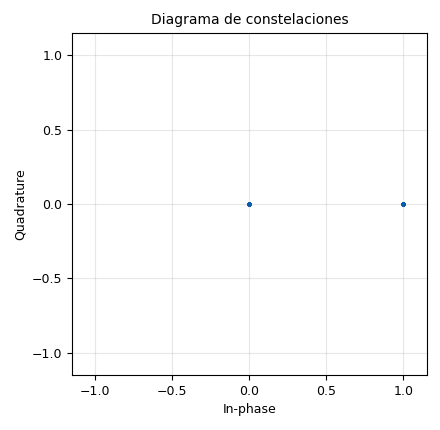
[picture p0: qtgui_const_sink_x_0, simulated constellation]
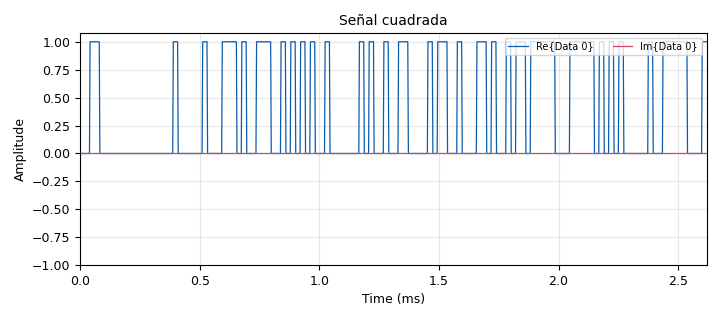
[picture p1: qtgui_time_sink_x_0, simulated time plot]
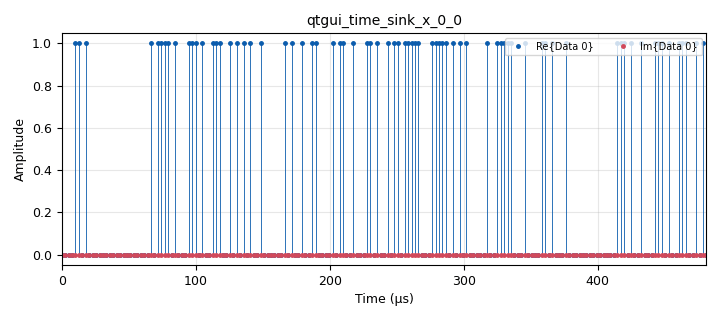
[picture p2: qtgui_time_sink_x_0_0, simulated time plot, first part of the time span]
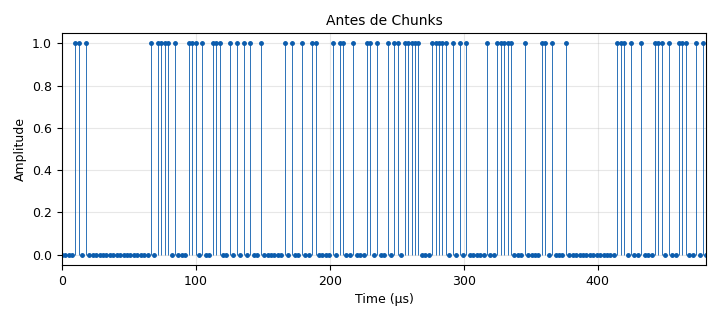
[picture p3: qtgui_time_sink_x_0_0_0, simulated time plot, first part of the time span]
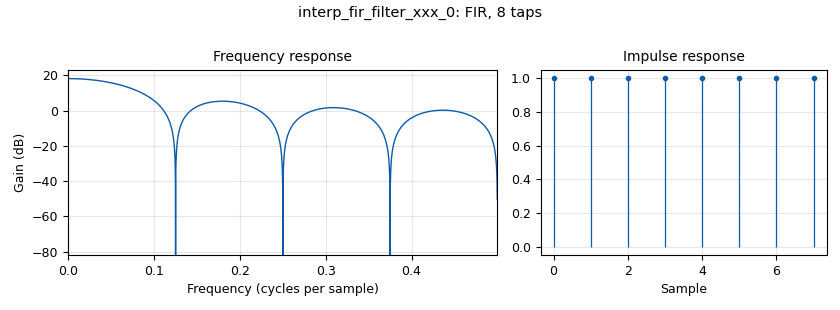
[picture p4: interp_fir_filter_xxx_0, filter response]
options:
  parameters:
    generate_options: qt_gui
    id: fus_USRP_4_with_Pkt_7_base
    output_language: python
    title: fus_USRP_4_with_Pkt_7_base
  states: {}

blocks:
- name: M
  id: variable
  parameters:
    value: len(module)
  states: {}
- name: Rb
  id: variable
  parameters:
    value: Rs*bps
  states: {}
- name: Rs
  id: variable
  parameters:
    value: '48828.125'
  states: {}
- name: Sps
  id: variable
  parameters:
    value: '8'
  states: {}
- name: Sps_0
  id: variable
  parameters:
    value: int(Sps/2)
  states: {}
- name: TrueBoardConstellation
  id: variable
  parameters:
    value: (0.77+0.77j,-0.77+0.77j,-0.77-0.77j,0.77-0.77j)
  states: {}
- name: bps
  id: variable
  parameters:
    value: int(math.log(M,2))
  states: {}
- name: constellation_2
  id: variable
  parameters:
    value: (0,1)
  states: {}
- name: h
  id: variable
  parameters:
    value: '[1]*Sps'
  states: {}
- name: hdr_format
  id: variable
  parameters:
    comment: header_format_crc
    value: digital.header_format_crc(len_key, num_key)
  states: {}
- name: len_key
  id: variable
  parameters:
    value: '"packet_len"'
  states: {}
- name: module
  id: variable_qtgui_chooser
  parameters:
    gui_hint: 0,7,1,1
    label: modulación
    label0: TrueBoardConstellation
    label1: constellation_2
    num_opts: '2'
    option0: TrueBoardConstellation
    option1: constellation_2
    options: '[TrueBoardConstellation, constellation_2]'
    type: raw
    value: constellation_2
  states: {}
- name: num_key
  id: variable
  parameters:
    value: '"packet_num"'
  states: {}
- name: samp_rate
  id: variable
  parameters:
    value: Rs*Sps
  states: {}
- name: samp_rate_2
  id: variable
  parameters:
    value: samp_rate*16
  states: {}
- name: Widget
  id: qtgui_tab_widget
  parameters:
    gui_hint: 0,0,1,7
    label0: Señal binaria
    label1: Señal cuadrada
    label2: Diagrama de constelaciones
    label3: Antes de Chunks
    num_tabs: '4'
  states: {}
- name: blocks_complex_to_interleaved_char_0
  id: blocks_complex_to_interleaved_char
  parameters:
    scale_factor: '1.0'
    vector_output: 'False'
  states: {state: disabled}
- name: blocks_file_sink_1
  id: blocks_file_sink
  parameters:
    file: G:\My Drive\ProgrammingProject\MaquinaNativa1\encrypted_data_rr.bin
    type: byte
  states: {state: disabled}
- name: blocks_keep_one_in_n_0
  id: blocks_keep_one_in_n
  parameters:
    n: '8'
    type: complex
  states: {state: disabled}
- name: blocks_message_debug_0
  id: blocks_message_debug
  parameters: {}
  states: {}
- name: blocks_message_strobe_0
  id: blocks_message_strobe
  parameters:
    msg: pmt.cons(pmt.PMT_NIL,pmt.init_u8vector(9,(71,78,85,32,82,97,100,105,111)))
    period: '2000'
  states: {}
- name: blocks_pack_k_bits_bb_0
  id: blocks_pack_k_bits_bb
  parameters:
    k: '8'
  states: {state: disabled}
- name: blocks_pack_k_bits_bb_0_0
  id: blocks_pack_k_bits_bb
  parameters:
    k: '8'
  states: {state: disabled}
- name: blocks_packed_to_unpacked_xx_0
  id: blocks_packed_to_unpacked_xx
  parameters:
    bits_per_chunk: bps
    endianness: gr.GR_MSB_FIRST
    type: byte
  states: {state: disabled}
- name: blocks_pdu_to_tagged_stream_0
  id: blocks_pdu_to_tagged_stream
  parameters:
    tag: packet_len
    type: byte
  states: {}
- name: blocks_pdu_to_tagged_stream_1
  id: blocks_pdu_to_tagged_stream
  parameters:
    tag: packet_len
    type: byte
  states: {}
- name: blocks_repack_bits_bb_1_0
  id: blocks_repack_bits_bb
  parameters:
    endianness: gr.GR_MSB_FIRST
    k: '8'
    l: '1'
    len_tag_key: '"packet_len"'
  states: {}
- name: blocks_tagged_stream_mux_0
  id: blocks_tagged_stream_mux
  parameters:
    lengthtagname: packet_len
    ninputs: '2'
    type: byte
  states: {}
- name: blocks_throttle_0
  id: blocks_throttle
  parameters:
    samples_per_second: samp_rate
    type: byte
  states: {}
- name: blocks_uchar_to_float_0
  id: blocks_uchar_to_float
  parameters: {}
  states: {}
- name: blocks_unpack_k_bits_bb_0
  id: blocks_unpack_k_bits_bb
  parameters:
    k: '8'
  states: {state: disabled}
- name: digital_chunks_to_symbols_xx_0
  id: digital_chunks_to_symbols_xx
  parameters:
    dimension: '1'
    in_type: byte
    out_type: complex
    symbol_table: module
  states: {}
- name: digital_crc32_async_bb_1
  id: digital_crc32_async_bb
  parameters:
    check: 'False'
  states: {}
- name: digital_protocol_formatter_async_0
  id: digital_protocol_formatter_async
  parameters:
    format: hdr_format
  states: {}
- name: import_0
  id: import
  parameters:
    imports: import math
  states: {}
- name: import_1
  id: import
  parameters:
    imports: import numpy
  states: {}
- name: interp_fir_filter_xxx_0
  id: interp_fir_filter_xxx
  parameters:
    interp: Sps
    taps: h
    type: ccf
  states: {}
- name: qtgui_const_sink_x_0
  id: qtgui_const_sink_x
  parameters:
    autoscale: 'True'
    grid: 'True'
    gui_hint: Widget@2
    name: '"Diagrama de constelaciones"'
    size: '2048'
    type: complex
  states: {}
- name: qtgui_time_sink_x_0
  id: qtgui_time_sink_x
  parameters:
    ctrlpanel: 'True'
    gui_hint: Widget@1
    name: '"Señal cuadrada"'
    size: '1024'
    srate: samp_rate
    type: complex
  states: {}
- name: qtgui_time_sink_x_0_0
  id: qtgui_time_sink_x
  parameters:
    autoscale: 'True'
    ctrlpanel: 'True'
    grid: 'True'
    gui_hint: Widget@0
    size: '1024'
    srate: samp_rate
    stemplot: 'True'
    type: complex
    update_time: '0.1'
  states: {}
- name: qtgui_time_sink_x_0_0_0
  id: qtgui_time_sink_x
  parameters:
    autoscale: 'True'
    ctrlpanel: 'True'
    grid: 'True'
    gui_hint: Widget@3
    name: Antes de Chunks
    size: '1024'
    srate: samp_rate
    stemplot: 'True'
    type: float
    update_time: '0.1'
  states: {}
- name: uhd_usrp_sink_0
  id: uhd_usrp_sink
  parameters:
    ant0: '"TX/RX"'
    center_freq0: 830e6
    gain0: '0'
    samp_rate: samp_rate
    sync: none
    type: fc32
  states: {}
- name: virtual_sink_1
  id: virtual_sink
  parameters:
    stream_id: pkt_out
  states: {}
- name: virtual_source_0
  id: virtual_source
  parameters:
    stream_id: pkt_out
  states: {}

connections:
- [blocks_complex_to_interleaved_char_0, '0', blocks_pack_k_bits_bb_0_0, '0']
- [blocks_keep_one_in_n_0, '0', blocks_complex_to_interleaved_char_0, '0']
- [blocks_message_strobe_0, strobe, digital_crc32_async_bb_1, in]
- [blocks_pack_k_bits_bb_0, '0', blocks_packed_to_unpacked_xx_0, '0']
- [blocks_pack_k_bits_bb_0_0, '0', blocks_file_sink_1, '0']
- [blocks_packed_to_unpacked_xx_0, '0', blocks_uchar_to_float_0, '0']
- [blocks_packed_to_unpacked_xx_0, '0', digital_chunks_to_symbols_xx_0, '0']
- [blocks_pdu_to_tagged_stream_0, '0', blocks_tagged_stream_mux_0, '0']
- [blocks_pdu_to_tagged_stream_1, '0', blocks_tagged_stream_mux_0, '1']
- [blocks_repack_bits_bb_1_0, '0', blocks_throttle_0, '0']
- [blocks_tagged_stream_mux_0, '0', blocks_repack_bits_bb_1_0, '0']
- [blocks_throttle_0, '0', virtual_sink_1, '0']
- [blocks_uchar_to_float_0, '0', qtgui_time_sink_x_0_0_0, '0']
- [blocks_unpack_k_bits_bb_0, '0', blocks_uchar_to_float_0, '0']
- [blocks_unpack_k_bits_bb_0, '0', digital_chunks_to_symbols_xx_0, '0']
- [digital_chunks_to_symbols_xx_0, '0', interp_fir_filter_xxx_0, '0']
- [digital_chunks_to_symbols_xx_0, '0', qtgui_time_sink_x_0_0, '0']
- [digital_crc32_async_bb_1, out, digital_protocol_formatter_async_0, in]
- [digital_protocol_formatter_async_0, header, blocks_message_debug_0, print]
- [digital_protocol_formatter_async_0, header, blocks_pdu_to_tagged_stream_0, pdus]
- [digital_protocol_formatter_async_0, payload, blocks_message_debug_0, print]
- [digital_protocol_formatter_async_0, payload, blocks_pdu_to_tagged_stream_1, pdus]
- [interp_fir_filter_xxx_0, '0', blocks_keep_one_in_n_0, '0']
- [interp_fir_filter_xxx_0, '0', qtgui_const_sink_x_0, '0']
- [interp_fir_filter_xxx_0, '0', qtgui_time_sink_x_0, '0']
- [interp_fir_filter_xxx_0, '0', uhd_usrp_sink_0, '0']
- [virtual_source_0, '0', blocks_uchar_to_float_0, '0']
- [virtual_source_0, '0', digital_chunks_to_symbols_xx_0, '0']

metadata:
  file_format: 1
